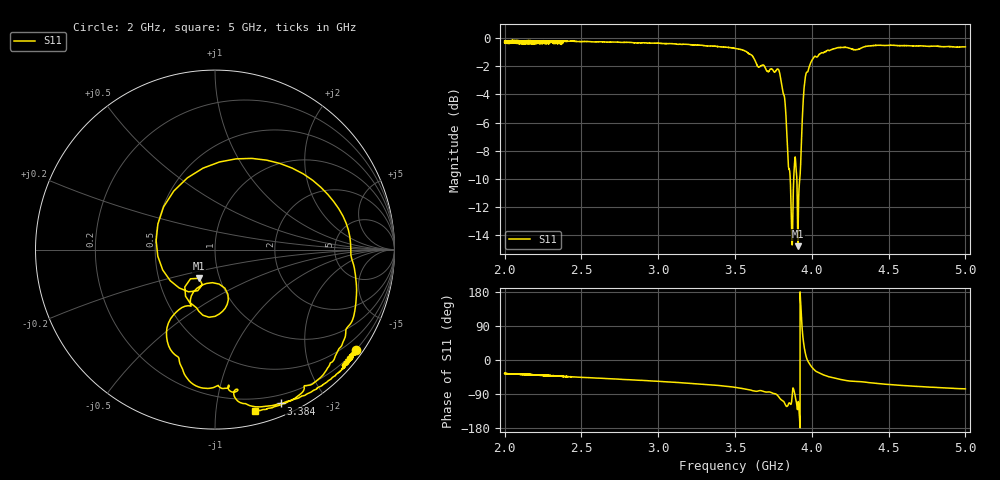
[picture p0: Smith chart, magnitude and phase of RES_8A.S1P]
!Agilent Technologies,E5071C,MY46214220,A.11.31
!Date: Fri Sep 22 10:15:25 2017
!Data & Calibration Information:
!Freq	S11:SOLT1(ON)
!PortZ  Port1:50+j0
!Above PortZ is port z conversion or system Z0 setting when saving the data.
!When reading, reference impedance value at option line is always used.
# Hz S dB R 50
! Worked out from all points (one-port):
!   20000 points, 2 GHz to 5 GHz, reference 50 ohm
!   lowest |S11| = -14.8 dB at 3.909 GHz (marker M1), VSWR 1.45, Z = 39.9 - j13.2 ohm
!   |S11| at or under -10 dB: 3.86 GHz to 3.882 GHz (22.4 MHz wide, 0.579 % of centre); 3.902596 GHz to 3.921733 GHz (19.14 MHz wide, 0.489 % of centre)
!   S11 on the Smith chart (normalised r, x): 2 GHz: 0.20, -3.12; 3.384 GHz: 0.12, -1.51; 5 GHz: 0.10, -1.27
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2e9  -0.33 -35.5
2.375019e9  -0.24 -43.3
2.750038e9  -0.32 -50.8
3.125056e9  -0.45 -59.4
3.383819e9  -0.61 -66.9
3.500075e9  -0.75 -72.1
3.630132e9  -1.60 -82.3
3.728686e9  -2.22 -84.7
3.779839e9  -2.22 -94.6
3.80969e9  -3.68 -107.7
3.829641e9  -5.13 -119.1
3.861293e9  -10.41 -116.6
3.875094e9  -13.69 -78.4
3.891145e9  -8.45 -93.8
3.909145e9  -14.76 -119.0
3.917996e9  -10.50 -139.3
3.927146e9  -9.03 152.3
3.935697e9  -6.42 91.2
3.942297e9  -4.80 60.1
3.948597e9  -3.71 39.4
3.957448e9  -2.81 19.1
3.976499e9  -2.32 -4.3
4.015201e9  -1.35 -25.5
4.063053e9  -1.06 -37.0
4.167458e9  -0.70 -49.5
4.250113e9  -0.76 -55.7
4.625131e9  -0.55 -68.0
5e9  -0.64 -76.2
